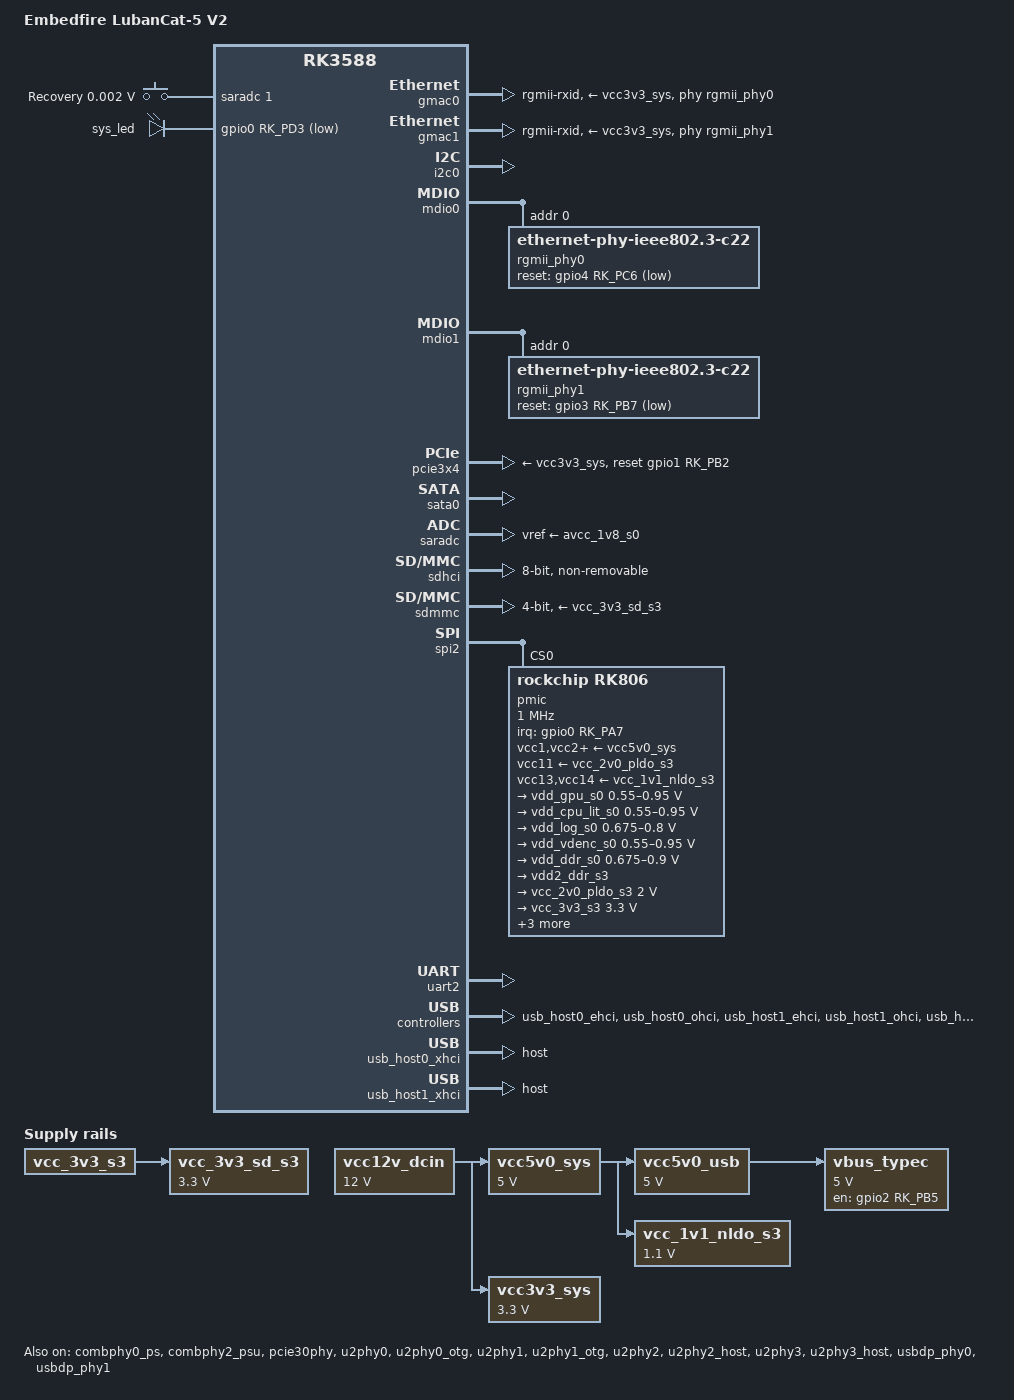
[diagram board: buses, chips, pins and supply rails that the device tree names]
// SPDX-License-Identifier: (GPL-2.0+ OR MIT)

/dts-v1/;

#include <dt-bindings/gpio/gpio.h>
#include <dt-bindings/input/input.h>
#include <dt-bindings/pinctrl/rockchip.h>
#include "rk3588.dtsi"

/ {
	model = "Embedfire LubanCat-5 V2";
	compatible = "embedfire,lubancat-5-v2", "rockchip,rk3588";

	aliases {
		ethernet0 = &gmac0;
		ethernet1 = &gmac1;
		mmc0 = &sdhci;
		mmc1 = &sdmmc;
	};

	chosen {
		stdout-path = "serial2:1500000n8";
	};

	adc-keys {
		compatible = "adc-keys";
		io-channels = <&saradc 1>;
		io-channel-names = "buttons";
		keyup-threshold-microvolt = <1800000>;
		poll-interval = <100>;

		button-recovery {
			label = "Recovery";
			linux,code = <KEY_VENDOR>;
			press-threshold-microvolt = <1750>;
		};
	};

	leds {
		compatible = "gpio-leds";

		sys_led: led-0 {
			default-state = "on";
			gpios = <&gpio0 RK_PD3 GPIO_ACTIVE_LOW>;
			label = "sys_led";
			linux,default-trigger = "heartbeat";
			pinctrl-names = "default";
			pinctrl-0 = <&sys_led_pin>;
		};
	};

	vcc12v_dcin: regulator-vcc12v-dcin {
		compatible = "regulator-fixed";
		regulator-name = "vcc12v_dcin";
		regulator-always-on;
		regulator-boot-on;
		regulator-min-microvolt = <12000000>;
		regulator-max-microvolt = <12000000>;
	};

	vcc5v0_sys: regulator-vcc5v0-sys {
		compatible = "regulator-fixed";
		regulator-name = "vcc5v0_sys";
		regulator-always-on;
		regulator-boot-on;
		regulator-min-microvolt = <5000000>;
		regulator-max-microvolt = <5000000>;
		vin-supply = <&vcc12v_dcin>;
	};

	vcc3v3_sys: regulator-vcc3v3-sys {
		compatible = "regulator-fixed";
		regulator-name = "vcc3v3_sys";
		regulator-always-on;
		regulator-boot-on;
		regulator-min-microvolt = <3300000>;
		regulator-max-microvolt = <3300000>;
		vin-supply = <&vcc12v_dcin>;
	};

	vcc5v0_usb: regulator-vcc5v0-usb {
		compatible = "regulator-fixed";
		regulator-name = "vcc5v0_usb";
		regulator-always-on;
		regulator-boot-on;
		regulator-min-microvolt = <5000000>;
		regulator-max-microvolt = <5000000>;
		vin-supply = <&vcc5v0_sys>;
	};

	vcc_1v1_nldo_s3: regulator-vcc-1v1-nldo-s3 {
		compatible = "regulator-fixed";
		regulator-name = "vcc_1v1_nldo_s3";
		regulator-always-on;
		regulator-boot-on;
		regulator-min-microvolt = <1100000>;
		regulator-max-microvolt = <1100000>;
		vin-supply = <&vcc5v0_sys>;
	};

	vcc_3v3_sd_s3: regulator-vcc-3v3-sd-s3 {
		compatible = "regulator-fixed";
		regulator-name = "vcc_3v3_sd_s3";
		regulator-always-on;
		regulator-boot-on;
		regulator-min-microvolt = <3300000>;
		regulator-max-microvolt = <3300000>;
		vin-supply = <&vcc_3v3_s3>;
	};

	vbus_typec: regulator-vbus-typec {
		compatible = "regulator-fixed";
		regulator-name = "vbus_typec";
		regulator-min-microvolt = <5000000>;
		regulator-max-microvolt = <5000000>;
		enable-active-high;
		gpio = <&gpio2 RK_PB5 GPIO_ACTIVE_HIGH>;
		pinctrl-names = "default";
		pinctrl-0 = <&typec_vbus_en>;
		vin-supply = <&vcc5v0_usb>;
	};
};

&combphy0_ps {
	status = "okay";
};

&combphy2_psu {
	status = "okay";
};

&gmac0 {
	clock_in_out = "output";
	phy-handle = <&rgmii_phy0>;
	phy-mode = "rgmii-rxid";
	phy-supply = <&vcc3v3_sys>;
	pinctrl-names = "default";
	pinctrl-0 = <&gmac0_miim
		     &gmac0_tx_bus2
		     &gmac0_rx_bus2
		     &gmac0_rgmii_clk
		     &gmac0_rgmii_bus>;
	rx_delay = <0x10>;
	tx_delay = <0x20>;
	status = "okay";
};

&gmac1 {
	clock_in_out = "output";
	phy-handle = <&rgmii_phy1>;
	phy-mode = "rgmii-rxid";
	phy-supply = <&vcc3v3_sys>;
	pinctrl-names = "default";
	pinctrl-0 = <&gmac1_miim
		     &gmac1_tx_bus2
		     &gmac1_rx_bus2
		     &gmac1_rgmii_clk
		     &gmac1_rgmii_bus>;
	rx_delay = <0x10>;
	tx_delay = <0x20>;
	status = "okay";
};

&i2c0 {
	pinctrl-names = "default";
	pinctrl-0 = <&i2c0m2_xfer>;
	status = "okay";
};

&mdio0 {
	rgmii_phy0: ethernet-phy@0 {
		compatible = "ethernet-phy-ieee802.3-c22";
		reg = <0>;
		reset-assert-us = <20000>;
		reset-deassert-us = <100000>;
		reset-gpios = <&gpio4 RK_PC6 GPIO_ACTIVE_LOW>;
	};
};

&mdio1 {
	rgmii_phy1: ethernet-phy@0 {
		compatible = "ethernet-phy-ieee802.3-c22";
		reg = <0>;
		reset-assert-us = <20000>;
		reset-deassert-us = <100000>;
		reset-gpios = <&gpio3 RK_PB7 GPIO_ACTIVE_LOW>;
	};
};

&pcie30phy {
	data-lanes = <4>;
	status = "okay";
};

&pcie3x4 {
	reset-gpios = <&gpio1 RK_PB2 GPIO_ACTIVE_HIGH>;
	vpcie3v3-supply = <&vcc3v3_sys>;
	status = "okay";
};

/* Mini-PCIe reused as mSATA (SATA30_HOST0/PCIe20x1_2 combo PHY).
 * Per the board hardware spec (sec 4.5.9): the mini-PCIe slot is electrically
 * compatible with mSATA. The RK3588 multiplexes the combo PHY between PCIe
 * and SATA, so we disable pcie2x1l2 and enable sata0 (sharing combphy0_ps). */
&pcie2x1l2 {
	status = "disabled";
};

&sata0 {
	status = "okay";
};

&pinctrl {
	leds {
		sys_led_pin: sys-led-pin {
			rockchip,pins = <0 RK_PD3 RK_FUNC_GPIO &pcfg_pull_none>;
		};
	};

	usb-typec {
		typec_vbus_en: typec-vbus-en {
			rockchip,pins = <2 RK_PB5 RK_FUNC_GPIO &pcfg_pull_none>;
		};
	};
};

&saradc {
	vref-supply = <&avcc_1v8_s0>;
	status = "okay";
};

&sdhci {
	bus-width = <8>;
	max-frequency = <200000000>;
	mmc-hs400-1_8v;
	mmc-hs400-enhanced-strobe;
	no-sd;
	no-sdio;
	non-removable;
	status = "okay";
};

&sdmmc {
	bus-width = <4>;
	cap-sd-highspeed;
	disable-wp;
	max-frequency = <200000000>;
	no-mmc;
	no-sdio;
	pinctrl-names = "default";
	pinctrl-0 = <&sdmmc_bus4 &sdmmc_clk &sdmmc_cmd &sdmmc_det>;
	sd-uhs-sdr104;
	vmmc-supply = <&vcc_3v3_sd_s3>;
	vqmmc-supply = <&vccio_sd_s0>;
	status = "okay";
};

&spi2 {
	assigned-clocks = <&cru CLK_SPI2>;
	assigned-clock-rates = <200000000>;
	num-cs = <1>;
	pinctrl-names = "default";
	pinctrl-0 = <&spi2m2_cs0 &spi2m2_pins>;
	status = "okay";

	pmic@0 {
		compatible = "rockchip,rk806";
		reg = <0>;
		interrupt-parent = <&gpio0>;
		interrupts = <RK_PA7 IRQ_TYPE_LEVEL_LOW>;
		pinctrl-names = "default";
		pinctrl-0 = <&pmic_pins>, <&rk806_dvs1_null>,
			    <&rk806_dvs2_null>, <&rk806_dvs3_null>;
		spi-max-frequency = <1000000>;
		system-power-controller;

		vcc1-supply = <&vcc5v0_sys>;
		vcc2-supply = <&vcc5v0_sys>;
		vcc3-supply = <&vcc5v0_sys>;
		vcc4-supply = <&vcc5v0_sys>;
		vcc5-supply = <&vcc5v0_sys>;
		vcc6-supply = <&vcc5v0_sys>;
		vcc7-supply = <&vcc5v0_sys>;
		vcc8-supply = <&vcc5v0_sys>;
		vcc9-supply = <&vcc5v0_sys>;
		vcc10-supply = <&vcc5v0_sys>;
		vcc11-supply = <&vcc_2v0_pldo_s3>;
		vcc12-supply = <&vcc5v0_sys>;
		vcc13-supply = <&vcc_1v1_nldo_s3>;
		vcc14-supply = <&vcc_1v1_nldo_s3>;
		vcca-supply = <&vcc5v0_sys>;

		gpio-controller;
		#gpio-cells = <2>;

		rk806_dvs1_null: dvs1-null-pins {
			pins = "gpio_pwrctrl1";
			function = "pin_fun0";
		};

		rk806_dvs2_null: dvs2-null-pins {
			pins = "gpio_pwrctrl2";
			function = "pin_fun0";
		};

		rk806_dvs3_null: dvs3-null-pins {
			pins = "gpio_pwrctrl3";
			function = "pin_fun0";
		};

		regulators {
			vdd_gpu_s0: vdd_gpu_mem_s0: dcdc-reg1 {
				regulator-name = "vdd_gpu_s0";
				regulator-boot-on;
				regulator-enable-ramp-delay = <400>;
				regulator-min-microvolt = <550000>;
				regulator-max-microvolt = <950000>;
				regulator-ramp-delay = <12500>;
			};

			vdd_cpu_lit_s0: vdd_cpu_lit_mem_s0: dcdc-reg2 {
				regulator-name = "vdd_cpu_lit_s0";
				regulator-always-on;
				regulator-boot-on;
				regulator-min-microvolt = <550000>;
				regulator-max-microvolt = <950000>;
				regulator-ramp-delay = <12500>;
			};

			vdd_log_s0: dcdc-reg3 {
				regulator-name = "vdd_log_s0";
				regulator-always-on;
				regulator-boot-on;
				regulator-min-microvolt = <675000>;
				regulator-max-microvolt = <800000>;
				regulator-ramp-delay = <12500>;
			};

			vdd_vdenc_s0: vdd_vdenc_mem_s0: dcdc-reg4 {
				regulator-name = "vdd_vdenc_s0";
				regulator-always-on;
				regulator-boot-on;
				regulator-min-microvolt = <550000>;
				regulator-max-microvolt = <950000>;
				regulator-ramp-delay = <12500>;
			};

			vdd_ddr_s0: dcdc-reg5 {
				regulator-name = "vdd_ddr_s0";
				regulator-always-on;
				regulator-boot-on;
				regulator-min-microvolt = <675000>;
				regulator-max-microvolt = <900000>;
				regulator-ramp-delay = <12500>;
			};

			vdd2_ddr_s3: dcdc-reg6 {
				regulator-name = "vdd2_ddr_s3";
				regulator-always-on;
				regulator-boot-on;
			};

			vcc_2v0_pldo_s3: dcdc-reg7 {
				regulator-name = "vdd_2v0_pldo_s3";
				regulator-always-on;
				regulator-boot-on;
				regulator-min-microvolt = <2000000>;
				regulator-max-microvolt = <2000000>;
				regulator-ramp-delay = <12500>;
			};

			vcc_3v3_s3: dcdc-reg8 {
				regulator-name = "vcc_3v3_s3";
				regulator-always-on;
				regulator-boot-on;
				regulator-min-microvolt = <3300000>;
				regulator-max-microvolt = <3300000>;
			};

			vddq_ddr_s0: dcdc-reg9 {
				regulator-name = "vddq_ddr_s0";
				regulator-always-on;
				regulator-boot-on;
			};

			vcc_1v8_s3: dcdc-reg10 {
				regulator-name = "vcc_1v8_s3";
				regulator-always-on;
				regulator-boot-on;
				regulator-min-microvolt = <1800000>;
				regulator-max-microvolt = <1800000>;
			};

			avcc_1v8_s0: pldo-reg1 {
				regulator-name = "avcc_1v8_s0";
				regulator-always-on;
				regulator-boot-on;
				regulator-min-microvolt = <1800000>;
				regulator-max-microvolt = <1800000>;
			};

			vcc_1v8_s0: pldo-reg2 {
				regulator-name = "vcc_1v8_s0";
				regulator-always-on;
				regulator-boot-on;
				regulator-min-microvolt = <1800000>;
				regulator-max-microvolt = <1800000>;
			};

			avdd_1v2_s0: pldo-reg3 {
				regulator-name = "avdd_1v2_s0";
				regulator-always-on;
				regulator-boot-on;
				regulator-min-microvolt = <1200000>;
				regulator-max-microvolt = <1200000>;
			};

			vcc_3v3_s0: pldo-reg4 {
				regulator-name = "vcc_3v3_s0";
				regulator-always-on;
				regulator-boot-on;
				regulator-min-microvolt = <3300000>;
				regulator-max-microvolt = <3300000>;
				regulator-ramp-delay = <12500>;
			};

			vccio_sd_s0: pldo-reg5 {
				regulator-name = "vccio_sd_s0";
				regulator-always-on;
				regulator-boot-on;
				regulator-min-microvolt = <1800000>;
				regulator-max-microvolt = <3300000>;
				regulator-ramp-delay = <12500>;
			};

			pldo6_s3: pldo-reg6 {
				regulator-name = "pldo6_s3";
				regulator-always-on;
				regulator-boot-on;
				regulator-min-microvolt = <1800000>;
				regulator-max-microvolt = <1800000>;
			};

			vdd_0v75_s3: nldo-reg1 {
				regulator-name = "vdd_0v75_s3";
				regulator-always-on;
				regulator-boot-on;
				regulator-min-microvolt = <750000>;
				regulator-max-microvolt = <750000>;
			};

			vdd_ddr_pll_s0: nldo-reg2 {
				regulator-name = "vdd_ddr_pll_s0";
				regulator-always-on;
				regulator-boot-on;
				regulator-min-microvolt = <850000>;
				regulator-max-microvolt = <850000>;
			};

			avdd_0v75_s0: nldo-reg3 {
				regulator-name = "avdd_0v75_s0";
				regulator-always-on;
				regulator-boot-on;
				regulator-min-microvolt = <837500>;
				regulator-max-microvolt = <837500>;
			};

			vdd_0v85_s0: nldo-reg4 {
				regulator-name = "vdd_0v85_s0";
				regulator-always-on;
				regulator-boot-on;
				regulator-min-microvolt = <850000>;
				regulator-max-microvolt = <850000>;
			};

			vdd_0v75_s0: nldo-reg5 {
				regulator-name = "vdd_0v75_s0";
				regulator-always-on;
				regulator-boot-on;
				regulator-min-microvolt = <750000>;
				regulator-max-microvolt = <750000>;
			};
		};
	};
};

&u2phy0 {
	status = "okay";
};

&u2phy0_otg {
	phy-supply = <&vbus_typec>;
	status = "okay";
};

&u2phy1 {
	status = "okay";
};

&u2phy1_otg {
	status = "okay";
};

&u2phy2 {
	status = "okay";
};

&u2phy2_host {
	phy-supply = <&vcc5v0_usb>;
	status = "okay";
};

&u2phy3 {
	status = "okay";
};

&u2phy3_host {
	phy-supply = <&vcc5v0_usb>;
	status = "okay";
};

&uart2 {
	pinctrl-0 = <&uart2m0_xfer>;
	status = "okay";
};

&usbdp_phy0 {
	status = "okay";
};

&usbdp_phy1 {
	status = "okay";
};

&usb_host0_ehci {
	status = "okay";
};

&usb_host0_ohci {
	status = "okay";
};

&usb_host0_xhci {
	dr_mode = "host";
	status = "okay";
};

&usb_host1_ehci {
	status = "okay";
};

&usb_host1_ohci {
	status = "okay";
};

&usb_host1_xhci {
	dr_mode = "host";
	status = "okay";
};

&usb_host2_xhci {
	status = "okay";
};
